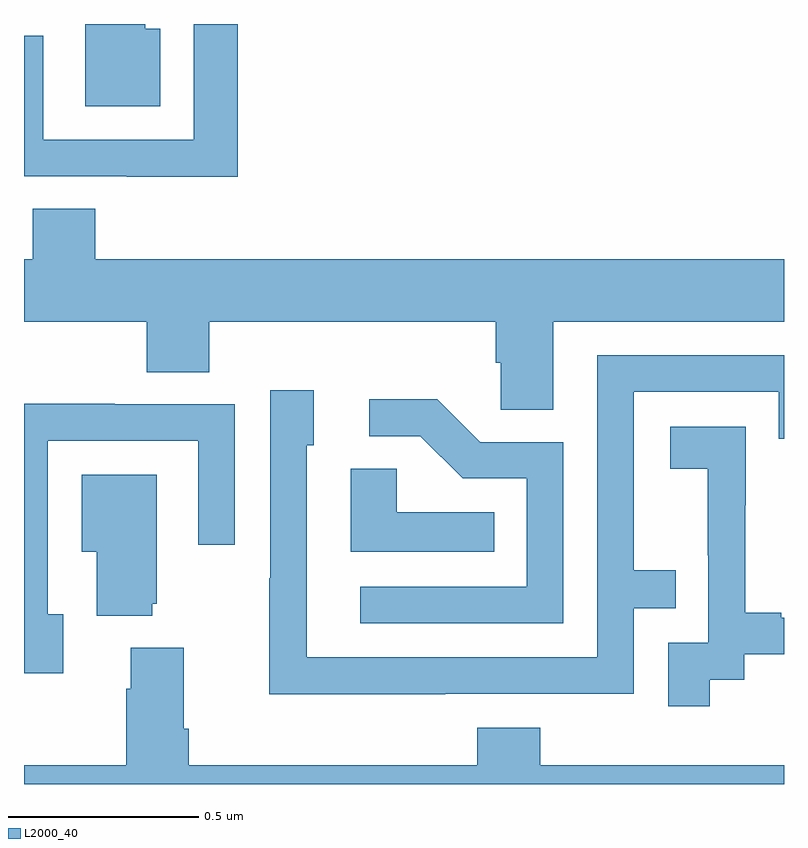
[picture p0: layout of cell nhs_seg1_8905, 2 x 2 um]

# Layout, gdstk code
import gdstk
lib = gdstk.Library(unit=1e-6, precision=1e-09)
def P(c, l, *ps):  # polygons
    for p in ps: c.add(gdstk.Polygon(p, *l))
L2000_40 = (2000, 40)

nhs_seg1_8905 = lib.new_cell('nhs_seg1_8905')
P(nhs_seg1_8905, L2000_40, [(222.358,535.186),(222.319,535.186),(222.319,535.199),(222.161,535.199),(222.161,534.983),(222.358,534.983)],
  [(222.563,535.199),(222.447,535.199),(222.447,534.894),(222.051,534.894),(222.051,535.168),(222,535.168),(222,534.798),(222.271,534.798),(222.271,534.797),(222.563,534.797)],
  [(223.393,534.416),(224,534.416),(224,534.58),(222.188,534.58),(222.188,534.713),(222.023,534.713),(222.023,534.58),(222,534.58),(222,534.416),(222.323,534.416),(222.323,534.283),(222.488,534.283),(222.488,534.416),(223.241,534.416),(223.241,534.307),(223.254,534.307),(223.254,534.184),(223.393,534.184)],
  [(223.109,533.436),(223.605,533.436),(223.605,533.661),(223.715,533.661),(223.715,533.762),(223.605,533.762),(223.605,534.231),(223.986,534.231),(223.986,534.108),(224,534.108),(224,534.327),(223.509,534.327),(223.509,533.532),(222.744,533.532),(222.744,534.09),(222.763,534.09),(222.763,534.235),(222.648,534.235),(222.648,533.741),(222.646,533.741),(222.646,533.435),(223.109,533.435)],
  [(223.419,534.099),(223.2,534.099),(223.087,534.212),(222.909,534.212),(222.909,534.114),(223.043,534.114),(223.154,534.003),(223.323,534.003),(223.323,533.718),(222.885,533.718),(222.885,533.622),(223.419,533.622)],
  [(222.103,533.646),(222.063,533.646),(222.063,534.102),(222.459,534.102),(222.459,533.829),(222.555,533.829),(222.555,534.198),(222.239,534.198),(222.239,534.2),(222,534.2),(222,533.49),(222.103,533.49)],
  [(223.804,533.473),(223.896,533.473),(223.896,533.541),(224,533.541),(224,533.637),(223.993,533.637),(223.993,533.65),(223.898,533.65),(223.898,533.933),(223.899,533.933),(223.899,534.139),(223.701,534.139),(223.701,534.029),(223.799,534.029),(223.799,533.801),(223.8,533.801),(223.8,533.571),(223.695,533.571),(223.695,533.403),(223.804,533.403)],
  [(223.238,533.914),(222.981,533.914),(222.981,534.029),(222.86,534.029),(222.86,533.81),(223.238,533.81)],
  [(222.338,533.673),(222.349,533.673),(222.349,534.013),(222.152,534.013),(222.152,533.81),(222.191,533.81),(222.191,533.642),(222.338,533.642)],
  [(224,533.248),(223.358,533.248),(223.358,533.347),(223.193,533.347),(223.193,533.248),(222.434,533.248),(222.434,533.344),(222.421,533.344),(222.421,533.557),(222.281,533.557),(222.281,533.45),(222.269,533.45),(222.269,533.248),(222,533.248),(222,533.199),(224,533.199)])

lib.write_gds('nhs_seg1_8905.gds')
